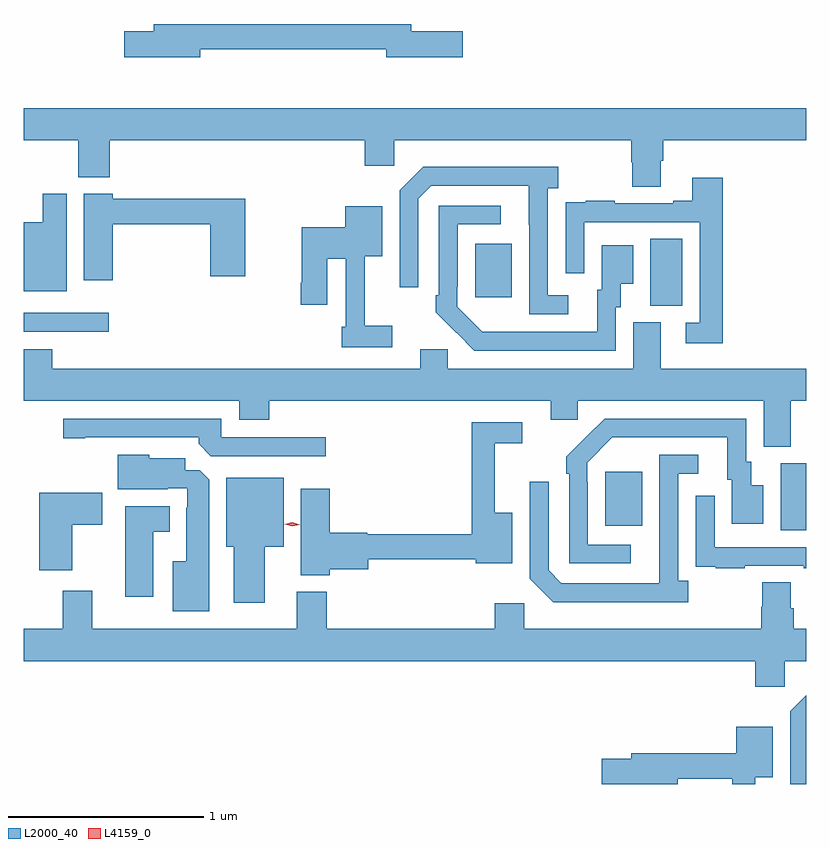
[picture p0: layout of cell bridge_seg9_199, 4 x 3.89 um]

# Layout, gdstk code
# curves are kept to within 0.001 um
import gdstk
lib = gdstk.Library(unit=1e-6, precision=1e-09)
def R(c, l, rs):  # rectangles x0, y0, x1, y1
    for r in rs: c.add(gdstk.rectangle(r[:2], r[2:], *l))
def P(c, l, *ps):  # polygons
    for p in ps: c.add(gdstk.Polygon(p, *l))
L2000_40 = (2000, 40)
L4159_0 = (4159, 0)

bridge_seg9_199 = lib.new_cell('bridge_seg9_199')
R(bridge_seg9_199, L2000_40, [(173.576,1199.752,173.706,1200.096), (172.679,1199.777,172.867,1200.052), (169.706,1200.768,170.14,1200.864), (172.91,1200.901,173.074,1201.244), (172.013,1200.945,172.201,1201.219)])
P(bridge_seg9_199, L2000_40, [(170.608,1202.214),(171.56,1202.214),(171.56,1202.171),(171.949,1202.171),(171.949,1202.306),(171.688,1202.306),(171.688,1202.342),(170.369,1202.342),(170.369,1202.306),(170.22,1202.306),(170.22,1202.171),(170.608,1202.171)],
  [(172.963,1201.642),(172.976,1201.642),(172.976,1201.748),(173.706,1201.748),(173.706,1201.912),(169.706,1201.912),(169.706,1201.748),(169.984,1201.748),(169.984,1201.559),(170.144,1201.559),(170.144,1201.748),(171.449,1201.748),(171.449,1201.617),(171.6,1201.617),(171.6,1201.748),(172.811,1201.748),(172.811,1201.635),(172.816,1201.635),(172.816,1201.51),(172.963,1201.51)],
  [(172.489,1200.954),(172.386,1200.954),(172.386,1201.502),(172.438,1201.502),(172.438,1201.612),(171.748,1201.612),(171.627,1201.491),(171.627,1200.996),(171.723,1200.996),(171.723,1201.449),(171.789,1201.515),(172.289,1201.515),(172.29,1200.858),(172.489,1200.858)],
  [(173.279,1201.555),(173.123,1201.555),(173.123,1201.438),(173.027,1201.438),(173.027,1201.425),(172.727,1201.425),(172.727,1201.438),(172.579,1201.438),(172.579,1201.431),(172.477,1201.431),(172.477,1201.322),(172.476,1201.322),(172.476,1201.068),(172.572,1201.068),(172.572,1201.329),(173.163,1201.329),(173.163,1200.813),(173.091,1200.813),(173.091,1200.708),(173.279,1200.708)],
  [(169.924,1201.474),(169.802,1201.474),(169.802,1201.327),(169.706,1201.327),(169.706,1200.974),(169.924,1200.974)],
  [(170.159,1201.318),(170.66,1201.318),(170.66,1201.053),(170.838,1201.053),(170.838,1201.447),(170.159,1201.447),(170.159,1201.474),(170.012,1201.474),(170.012,1201.032),(170.159,1201.032)],
  [(172.734,1200.894),(172.759,1200.894),(172.759,1201.013),(172.822,1201.013),(172.822,1201.21),(172.661,1201.21),(172.661,1200.984),(172.637,1200.984),(172.637,1200.768),(172.05,1200.769),(171.921,1200.897),(171.921,1200.997),(171.924,1200.997),(171.924,1201.317),(172.144,1201.317),(172.144,1201.413),(171.828,1201.413),(171.828,1200.955),(171.813,1200.955),(171.813,1200.867),(172.01,1200.672),(172.734,1200.672)],
  [(171.589,1200.799),(171.449,1200.799),(171.449,1201.154),(171.538,1201.154),(171.538,1201.411),(171.35,1201.411),(171.35,1201.302),(171.127,1201.302),(171.127,1201.018),(171.122,1201.018),(171.122,1200.906),(171.256,1200.906),(171.256,1201.142),(171.351,1201.142),(171.351,1200.793),(171.331,1200.793),(171.331,1200.69),(171.589,1200.69)],
  [(173.629,1200.416),(173.706,1200.416),(173.706,1200.58),(172.963,1200.58),(172.963,1200.816),(172.823,1200.816),(172.823,1200.58),(171.873,1200.58),(171.873,1200.678),(171.734,1200.678),(171.734,1200.58),(169.85,1200.58),(169.85,1200.679),(169.706,1200.679),(169.706,1200.416),(170.807,1200.416),(170.807,1200.317),(170.96,1200.317),(170.96,1200.416),(172.4,1200.416),(172.4,1200.318),(172.539,1200.318),(172.539,1200.416),(173.489,1200.416),(173.489,1200.181),(173.629,1200.181)],
  [(171.25,1200.228),(170.715,1200.228),(170.715,1200.324),(169.908,1200.324),(169.908,1200.223),(170.02,1200.223),(170.02,1200.228),(170.6,1200.228),(170.6,1200.194),(170.661,1200.132),(171.25,1200.132)],
  [(172.81,1199.679),(172.59,1199.679),(172.59,1199.999),(172.587,1199.999),(172.587,1200.099),(172.716,1200.228),(173.303,1200.228),(173.303,1200.012),(173.327,1200.012),(173.327,1199.787),(173.488,1199.787),(173.488,1199.983),(173.425,1199.983),(173.425,1200.102),(173.4,1200.102),(173.4,1200.324),(172.676,1200.324),(172.479,1200.129),(172.479,1200.041),(172.494,1200.041),(172.494,1199.583),(172.81,1199.583)],
  [(171.269,1199.554),(171.466,1199.554),(171.466,1199.604),(172.016,1199.604),(172.016,1199.585),(172.204,1199.585),(172.204,1199.842),(172.115,1199.842),(172.115,1200.198),(172.255,1200.198),(172.255,1200.306),(171.997,1200.306),(171.997,1199.732),(171.462,1199.732),(171.462,1199.74),(171.269,1199.74),(171.269,1199.965),(171.122,1199.965),(171.122,1199.522),(171.269,1199.522)],
  [(170.653,1200.011),(170.604,1200.06),(170.53,1200.06),(170.53,1200.121),(170.346,1200.121),(170.346,1200.139),(170.186,1200.139),(170.186,1199.963),(170.441,1199.963),(170.441,1199.967),(170.541,1199.967),(170.541,1199.867),(170.537,1199.867),(170.537,1199.593),(170.468,1199.593),(170.468,1199.339),(170.653,1199.339)],
  [(173.104,1199.494),(173.052,1199.494),(173.052,1200.042),(173.155,1200.042),(173.155,1200.138),(172.956,1200.138),(172.955,1199.481),(172.455,1199.481),(172.389,1199.547),(172.389,1200.001),(172.293,1200.001),(172.293,1199.505),(172.414,1199.384),(173.104,1199.384)],
  [(170.938,1199.669),(171.034,1199.669),(171.034,1200.022),(170.741,1200.022),(170.741,1199.669),(170.78,1199.669),(170.78,1199.382),(170.938,1199.382)],
  [(169.954,1199.782),(170.107,1199.782),(170.107,1199.944),(169.784,1199.944),(169.784,1199.549),(169.954,1199.549)],
  [(173.393,1199.571),(173.693,1199.571),(173.693,1199.559),(173.706,1199.559),(173.706,1199.667),(173.238,1199.667),(173.238,1199.929),(173.142,1199.929),(173.142,1199.674),(173.143,1199.674),(173.143,1199.565),(173.245,1199.565),(173.245,1199.559),(173.393,1199.559)],
  [(170.368,1199.744),(170.452,1199.744),(170.452,1199.875),(170.225,1199.875),(170.225,1199.412),(170.368,1199.412)],
  [(173.598,1199.084),(173.706,1199.084),(173.706,1199.248),(173.642,1199.248),(173.642,1199.354),(173.629,1199.354),(173.629,1199.486),(173.482,1199.486),(173.482,1199.361),(173.477,1199.361),(173.477,1199.248),(172.266,1199.248),(172.266,1199.38),(172.115,1199.38),(172.115,1199.248),(171.254,1199.248),(171.254,1199.437),(171.101,1199.437),(171.101,1199.248),(170.056,1199.248),(170.056,1199.443),(169.904,1199.443),(169.904,1199.248),(169.706,1199.248),(169.706,1199.084),(173.447,1199.084),(173.447,1198.953),(173.598,1198.953)],
  [(173.706,1198.908),(173.625,1198.827),(173.625,1198.455),(173.706,1198.455)],
  [(173.05,1198.483),(173.329,1198.483),(173.329,1198.455),(173.447,1198.455),(173.447,1198.49),(173.536,1198.49),(173.536,1198.747),(173.348,1198.747),(173.348,1198.612),(172.811,1198.612),(172.811,1198.583),(172.662,1198.583),(172.662,1198.455),(173.05,1198.455)])
P(bridge_seg9_199, L4159_0, [(171.078,1199.773),(171.041,1199.784),(171.04,1199.784),(171.041,1199.784),(171.079,1199.793),(171.117,1199.782),(171.117,1199.782),(171.117,1199.782)])

lib.write_gds('bridge_seg9_199.gds')
